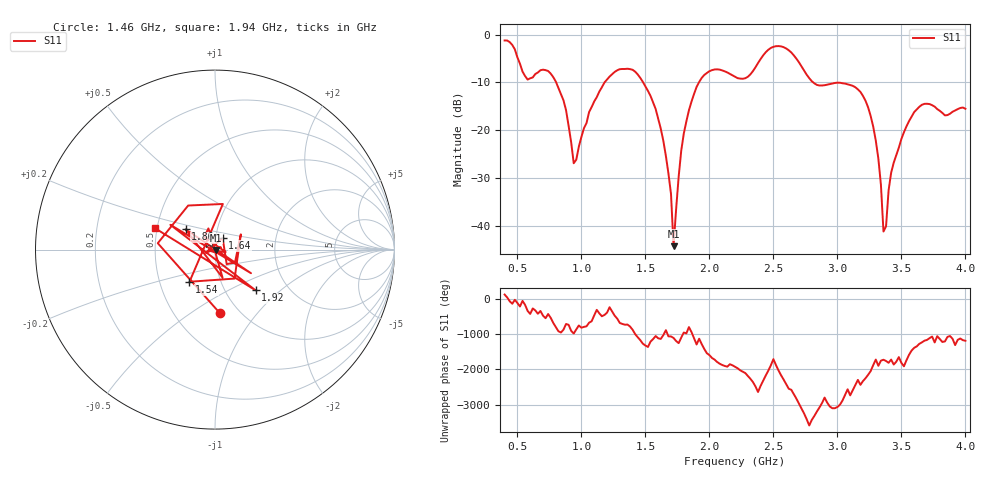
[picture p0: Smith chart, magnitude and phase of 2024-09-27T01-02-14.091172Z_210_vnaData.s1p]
!Created with skrf (http://scikit-rf.org).
# Hz S RI R 50.0
!freq ReS11 ImS11
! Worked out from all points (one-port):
!   181 points, 400 MHz to 4 GHz, reference 50 ohm
!   lowest |S11| = -44.3 dB at 1.72 GHz (marker M1), VSWR 1.01, Z = 50.6 - j0.25 ohm
!   |S11| at or under -10 dB: 802.9 MHz to 1.18 GHz (377.3 MHz wide, 38 % of centre); 1.483 GHz to 1.918 GHz (435.3 MHz wide, 25.6 % of centre); 2.812 GHz to end of sweep
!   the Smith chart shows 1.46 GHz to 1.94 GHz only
!   S11 on the Smith chart (normalised r, x): 1.46 GHz: 0.82, -0.66; 1.54 GHz: 0.71, -0.27; 1.64 GHz: 1.08, +0.14; 1.86 GHz: 0.70, +0.16; 1.92 GHz: 1.38, -0.70; 1.94 GHz: 0.49, +0.13
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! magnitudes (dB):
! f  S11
! 400 MHz  -1.2
! 580 MHz  -9.4
! 740 MHz  -7.6
! 860 MHz  -13.7
! 940 MHz  -26.9
! 1.1 GHz  -14.0
! 1.3 GHz  -7.2
! 1.46 GHz  -9.0
! 1.54 GHz  -12.8
! 1.64 GHz  -22.2
! 1.7 GHz  -33.4
! 1.72 GHz  -44.3
! 1.76 GHz  -29.7
! 1.86 GHz  -14.0
! 1.92 GHz  -9.9
! 1.94 GHz  -9.0
! 2.2 GHz  -8.8
! 2.5 GHz  -2.5
! 2.66 GHz  -4.3
! 2.84 GHz  -10.5
! 3.1 GHz  -10.5
! 3.28 GHz  -19.3
! 3.34 GHz  -31.4
! 3.36 GHz  -41.3
! 3.38 GHz  -40.2
! 3.42 GHz  -28.9
! 3.56 GHz  -18.1
! 4 GHz  -15.5
